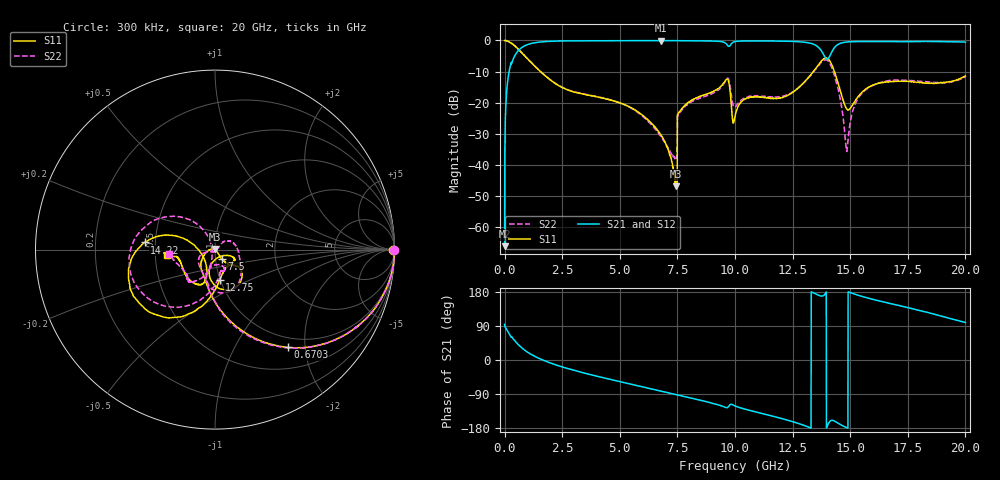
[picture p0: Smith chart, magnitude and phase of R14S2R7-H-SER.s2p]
!{R14S2R7}
!Johanson Technology Inc.
!www.johansontechnology.com
!Test Board Conditions:
!Substrate Type  RO4350B
!Substrate Thickness  20 mil
!Substrate Dk  3.66
!TL Type: GCPW
!TL Trace Width  36 mil
!TL Gap  12 mil
!Electrode orientation  Horizontal
!DUT TOPOLOGY	SERIES
!Mounting Pad LxW  26x36 mil
! Created Wed Nov 25 17:33:21 2020
! 2 Port Network Data from SP1.SP block
! freq  magS11  angS11  magS21  angS21  magS12  angS12  magS22  angS22
# khz S ma R 50
! decimated to every 10th point (10 MHz spacing) of the original 1 MHz Johanson file; values unchanged
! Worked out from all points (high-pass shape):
!   2001 points, 300 kHz to 20 GHz, reference 50 ohm
!   highest |S21| = -0.05 dB at 6.8 GHz (marker M1); lowest = -66.2 dB at 300 kHz (marker M2)
!   |S21| within 3 dB of the highest: 623.7 MHz to 13.72 GHz (13.1 GHz wide, 183 % of centre); 14.25 GHz to end of sweep
!   lowest |S11| = -46.9 dB at 7.43 GHz (marker M3), VSWR 1.01, Z = 49.8 + j0.423 ohm
!   |S11| at or under -10 dB: 1.557 GHz to 13.4 GHz (11.84 GHz wide, 158 % of centre); 14.32 GHz to end of sweep
!   |S22| runs from -38.0 to 0.0 dB; largest |S21 - S12| = 0.018
!   S11 on the Smith chart (normalised r, x): 300 kHz: open; 670.3 MHz: 0.83, -1.67; 7.5 GHz: 1.07, -0.11; 12.75 GHz: 0.99, -0.35; 14.22 GHz: 0.44, +0.04; 20 GHz: 0.58, -0.04
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300  0.9923 -0.2  0.0004925 94.2  0.0004478 87.2  0.9969 -0.1
110300  0.9824 -11.8  0.1837 78.1  0.1842 78.0  0.9825 -11.8
160300  0.9635 -16.9  0.2618 73.0  0.2634 72.8  0.9639 -16.9
670300  0.6782 -53.4  0.732 36.1  0.7315 36.2  0.6778 -53.8
1620300  0.301 -89.0  0.95 0.9  0.9501 0.9  0.3021 -88.7
3340300  0.1386 -122.1  0.9869 -32.6  0.9863 -32.5  0.14 -121.9
6670300  0.03507 -173.0  0.9937 -80.4  0.9935 -80.4  0.03276 -159.2
6800300  0.02965 -177.4  0.9947 -82.3  0.9934 -82.3  0.02764 -156.5
7430300  0.004538 110.7  0.9923 -91.2  0.993 -91.1  0.01316 -95.2
7500300  0.06339 -54.9  0.9908 -92.1  0.9922 -92.1  0.06077 45.0
7620300  0.07318 -52.9  0.9902 -93.8  0.9911 -93.8  0.07062 41.2
9610300  0.2336 -53.9  0.8917 -125.6  0.8918 -125.5  0.2337 -56.7
1.00003e7  0.06014 -33.2  0.9598 -121.1  0.9611 -121.1  0.08491 -78.5
1.04603e7  0.1154 -24.1  0.979 -130.1  0.9797 -130.1  0.1213 -64.0
1.27503e7  0.1734 -81.7  0.9553 -167.5  0.9578 -167.3  0.1731 -85.3
1.33403e7  0.2976 -99.7  0.8879 179.0  0.8925 179.0  0.2895 -105.9
1.38003e7  0.4859 -131.3  0.6338 169.0  0.6383 168.3  0.4619 -144.0
1.42203e7  0.3942 174.2  0.6765 -159.1  0.6756 -159.3  0.3499 150.0
1.48503e7  0.07915 -163.5  0.9451 -178.5  0.945 -178.5  0.01637 -166.5
1.53903e7  0.1308 -110.5  0.96 169.9  0.9654 169.8  0.1253 -108.2
1.66703e7  0.2139 -115.7  0.9606 149.9  0.9543 149.8  0.2265 -126.7
2e7  0.2682 -173.3  0.9381 98.9  0.9379 99.1  0.26 -174.4
